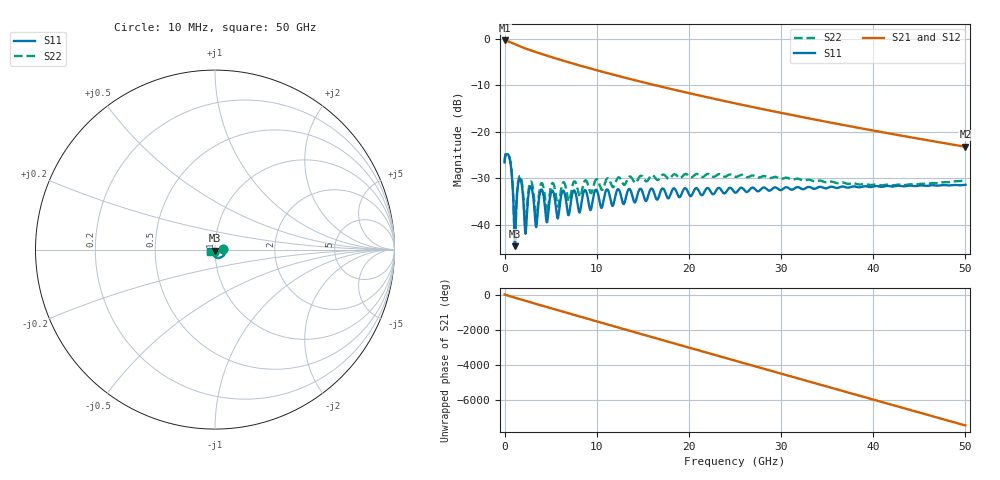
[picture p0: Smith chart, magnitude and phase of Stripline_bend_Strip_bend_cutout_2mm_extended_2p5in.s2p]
! Touchstone file exported from HFSS 3D Layout Design 2025.1.0
!  File:  /vlsi/proj/neon/be/die0/users/eduard.sonkin/Ansys/Ansys/UCIE/Stripline/Stripline_bend.aedt
!  Generated:  02:24:11 PM Mar 16, 2025
!  Design:  Strip_bend_cutout_2mm_extended_5_10_inch
!  Project:  Stripline_bend
!  Setup:  Setup1
!  Solution:  Sweep1
! Variables:
!  $Tline = 18um
!  $Yspace = 69
!  apDia = 50mil
!  padDia = 30mil
!  viaDia = 20mil
!  w50strip = 12.4mil
!  w50ustrip = 50mil
# GHz S MA R 50.000000
! Terminal data exported
! Port[1] = Port1
! Port[2] = Port2
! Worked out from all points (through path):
!   5000 points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, 10 MHz to 50 GHz, reference 50 ohm
!   highest |S21| = -0.41 dB at 10 MHz (marker M1); lowest = -23.2 dB at 50 GHz (marker M2)
!   lowest |S11| = -44.6 dB at 1.12 GHz (marker M3), VSWR 1.01, Z = 50.2 - j0.565 ohm
!   |S11| at or under -10 dB: start of sweep to end of sweep
!   |S22| runs from -44.3 to -24.8 dB; largest |S21 - S12| = 1.8e-14
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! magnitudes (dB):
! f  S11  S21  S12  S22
! 10 MHz  -26.6  -0.4  -0.4  -26.6
! 580 MHz  -26.0  -0.7  -0.7  -25.9
! 1.12 GHz  -44.6  -1.2  -1.2  -44.3
! 1.67 GHz  -30.1  -1.7  -1.7  -29.5
! 2.28 GHz  -41.9  -2.1  -2.1  -41.2
! 2.85 GHz  -31.8  -2.5  -2.5  -30.7
! 3.43 GHz  -40.5  -2.9  -2.9  -39.1
! 4 GHz  -32.4  -3.3  -3.3  -31.1
! 4.59 GHz  -39.5  -3.7  -3.7  -37.4
! 5.17 GHz  -32.6  -4.0  -4.0  -31.1
! 5.76 GHz  -38.7  -4.4  -4.4  -36.0
! 6.34 GHz  -32.7  -4.7  -4.7  -31.0
! 6.93 GHz  -38.0  -5.1  -5.1  -34.8
! 7.52 GHz  -32.6  -5.4  -5.4  -30.8
! 8.35 GHz  -35.3  -5.9  -5.9  -33.1
! 8.73 GHz  -32.6  -6.1  -6.1  -30.5
! 9.32 GHz  -36.9  -6.4  -6.4  -33.1
! 16.68 GHz  -34.3  -10.2  -10.2  -30.4
! 25.01 GHz  -33.1  -13.9  -13.9  -29.7
! 33.34 GHz  -32.1  -17.3  -17.3  -30.5
! 41.67 GHz  -31.7  -20.4  -20.4  -31.4
! 50 GHz  -31.4  -23.2  -23.2  -30.4
